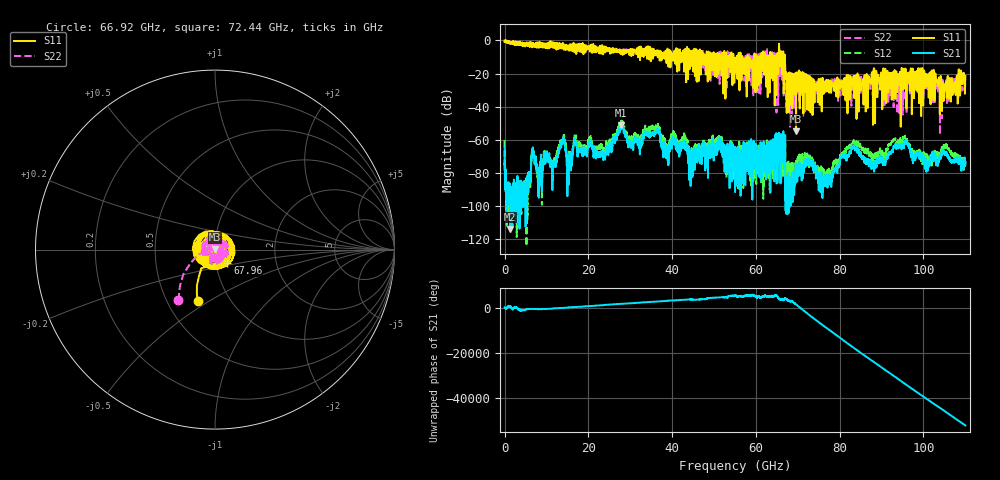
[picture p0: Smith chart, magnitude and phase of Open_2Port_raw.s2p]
#  HZ  S  RI  R  50.00
! Rohde & Schwarz ZVA67 4Ports - Version 4.11 - 1305.7002k04 SN: 101032
! Date: 2026-02-18 15:42:00
! Measurements: S11 S21 S12 S22
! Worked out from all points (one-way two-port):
!   5500 points, 20 MHz to 110 GHz, reference 50 ohm
!   highest |S21| = -51.26 dB at 27.8 GHz (marker M1); lowest = -113.8 dB at 1.3 GHz (marker M2)
!   lowest |S11| = -54.9 dB at 69.58 GHz (marker M3), VSWR 1.00, Z = 50 + j0.176 ohm
!   |S11| at or under -10 dB: 56.8 GHz to 57.95 GHz (1.154 GHz wide, 2.01 % of centre); 58.1 GHz to 59.56 GHz (1.457 GHz wide, 2.48 % of centre); 66.91 GHz to end of sweep (the widest 3 of 74)
!   |S22| runs from -56.9 to -0.2 dB; largest |S21 - S12| = 0.006
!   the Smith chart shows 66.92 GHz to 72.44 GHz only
!   S11 on the Smith chart (normalised r, x): 66.92 GHz: 0.71, -0.45; 67.96 GHz: 1.13, -0.17; 72.44 GHz: 0.89, -0.10
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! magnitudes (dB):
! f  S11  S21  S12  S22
! 20 MHz  0.0  -64.4  -60.1  -0.2
! 1.3 GHz  -1.3  -113.8  -89.9  -1.8
! 11.38 GHz  -1.0  -76.9  -79.4  -3.3
! 13.82 GHz  -4.0  -60.6  -59.3  -3.8
! 15.38 GHz  -4.9  -68.8  -66.2  -3.5
! 18.36 GHz  -6.3  -65.6  -63.5  -4.2
! 23.64 GHz  -4.9  -69.8  -66.5  -5.6
! 27.8 GHz  -6.8  -51.3  -48.7  -6.5
! 30.08 GHz  -5.7  -62.3  -59.6  -6.3
! 36.68 GHz  -8.3  -54.6  -51.7  -7.3
! 44.42 GHz  -6.6  -87.9  -67.6  -11.5
! 51.32 GHz  -10.3  -61.9  -58.4  -18.2
! 55.02 GHz  -10.7  -91.6  -70.8  -13.2
! 66.92 GHz  -10.4  -63.0  -63.0  -9.2
! 67.96 GHz  -19.9  -97.8  -85.7  -22.0
! 69.58 GHz  -54.9  -79.8  -72.8  -29.8
! 72.44 GHz  -22.2  -74.7  -69.7  -27.9
! 73.34 GHz  -23.7  -74.1  -76.5  -28.1
! 77.48 GHz  -31.5  -83.0  -80.4  -27.6
! 83.3 GHz  -21.5  -63.6  -60.7  -28.0
! 91.68 GHz  -23.5  -68.0  -62.6  -23.1
! 110 GHz  -21.5  -73.8  -73.1  -27.2
